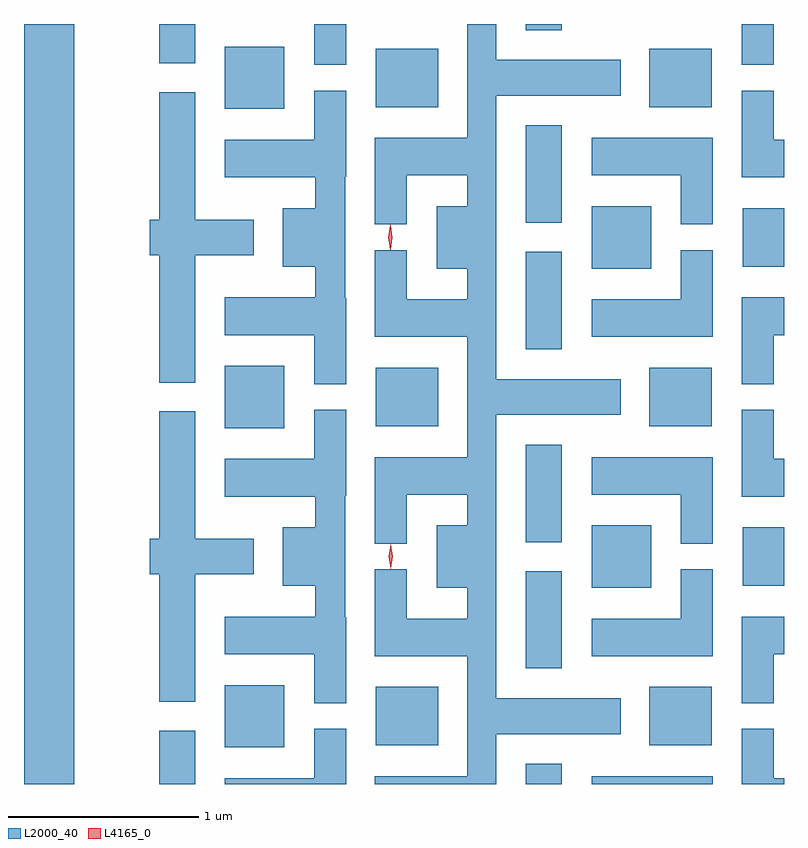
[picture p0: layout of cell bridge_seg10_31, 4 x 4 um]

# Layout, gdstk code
import gdstk
lib = gdstk.Library(unit=1e-6, precision=1e-09)
def R(c, l, rs):  # rectangles x0, y0, x1, y1
    for r in rs: c.add(gdstk.rectangle(r[:2], r[2:], *l))
def A(c, l, x, y, w, h, nx, ny, dx, dy):  # array of equal rectangles
    R(c, l, [(x+i*dx, y+j*dy, x+i*dx+w, y+j*dy+h) for i in range(nx) for j in range(ny)])
def P(c, l, *ps):  # polygons
    for p in ps: c.add(gdstk.Polygon(p, *l))
L2000_40 = (2000, 40)
L4165_0 = (4165, 0)

bridge_seg10_31 = lib.new_cell('bridge_seg10_31')
A(bridge_seg10_31, L2000_40, 1786.791, 2166.486, 0.313, 0.328, 1, 3, 0, 1.68)
A(bridge_seg10_31, L2000_40, 1787.586, 2166.496, 0.328, 0.308, 1, 3, 0, 1.68)
A(bridge_seg10_31, L2000_40, 1789.026, 2166.496, 0.328, 0.308, 1, 3, 0, 1.68)
R(bridge_seg10_31, L2000_40, [(1785.734,2166.293,1785.999,2170.293), (1786.446,2166.293,1786.634,2166.574), (1788.376,2166.293,1788.564,2166.399), (1788.721,2166.293,1789.359,2166.334), (1788.376,2166.901,1788.564,2167.414), (1788.721,2167.326,1789.034,2167.654), (1789.516,2167.336,1789.734,2167.644), (1788.376,2167.566,1788.564,2168.079), (1788.376,2168.581,1788.564,2169.094), (1788.721,2169.006,1789.034,2169.334), (1789.516,2169.016,1789.734,2169.324), (1788.376,2169.246,1788.564,2169.759), (1787.261,2170.078,1787.429,2170.293), (1789.511,2170.078,1789.679,2170.293), (1786.446,2170.086,1786.634,2170.293), (1788.376,2170.261,1788.564,2170.293)])
P(bridge_seg10_31, L2000_40, [(1788.066,2167.326),(1788.066,2167.164),(1787.749,2167.164),(1787.749,2167.423),(1787.581,2167.423),(1787.581,2166.966),(1788.066,2166.966),(1788.066,2166.334),(1787.581,2166.334),(1787.581,2166.293),(1788.219,2166.293),(1788.219,2166.556),(1788.874,2166.556),(1788.874,2166.744),(1788.219,2166.744),(1788.219,2168.236),(1788.874,2168.236),(1788.874,2168.424),(1788.219,2168.424),(1788.219,2169.916),(1788.874,2169.916),(1788.874,2170.104),(1788.219,2170.104),(1788.219,2170.293),(1788.066,2170.293),(1788.066,2169.694),(1787.581,2169.694),(1787.581,2169.238),(1787.749,2169.238),(1787.749,2169.496),(1788.066,2169.496),(1788.066,2169.334),(1787.906,2169.334),(1787.906,2169.006),(1788.066,2169.006),(1788.066,2168.844),(1787.749,2168.844),(1787.749,2169.103),(1787.581,2169.103),(1787.581,2168.646),(1788.066,2168.646),(1788.066,2168.014),(1787.581,2168.014),(1787.581,2167.558),(1787.749,2167.558),(1787.749,2167.816),(1788.066,2167.816),(1788.066,2167.654),(1787.906,2167.654),(1787.906,2167.326)],
  [(1789.734,2169.684),(1789.679,2169.684),(1789.679,2169.943),(1789.511,2169.943),(1789.511,2169.486),(1789.734,2169.486)],
  [(1787.429,2168.85),(1787.424,2168.85),(1787.424,2169.49),(1787.429,2169.49),(1787.429,2169.943),(1787.261,2169.943),(1787.261,2169.684),(1786.791,2169.684),(1786.791,2169.486),(1787.266,2169.486),(1787.266,2169.324),(1787.096,2169.324),(1787.096,2169.016),(1787.266,2169.016),(1787.266,2168.854),(1786.791,2168.854),(1786.791,2168.656),(1787.261,2168.656),(1787.261,2168.398),(1787.429,2168.398)],
  [(1786.634,2169.076),(1786.944,2169.076),(1786.944,2169.264),(1786.634,2169.264),(1786.634,2169.934),(1786.446,2169.934),(1786.446,2169.264),(1786.396,2169.264),(1786.396,2169.076),(1786.446,2169.076),(1786.446,2168.406),(1786.634,2168.406)],
  [(1789.359,2169.694),(1788.721,2169.694),(1788.721,2169.496),(1789.191,2169.496),(1789.191,2169.238),(1789.359,2169.238)],
  [(1789.359,2169.103),(1789.191,2169.103),(1789.191,2168.844),(1788.721,2168.844),(1788.721,2168.646),(1789.359,2168.646)],
  [(1789.679,2168.656),(1789.734,2168.656),(1789.734,2168.854),(1789.511,2168.854),(1789.511,2168.398),(1789.679,2168.398)],
  [(1787.429,2167.17),(1787.424,2167.17),(1787.424,2167.81),(1787.429,2167.81),(1787.429,2168.263),(1787.261,2168.263),(1787.261,2168.004),(1786.791,2168.004),(1786.791,2167.806),(1787.266,2167.806),(1787.266,2167.644),(1787.096,2167.644),(1787.096,2167.336),(1787.266,2167.336),(1787.266,2167.174),(1786.791,2167.174),(1786.791,2166.976),(1787.261,2166.976),(1787.261,2166.718),(1787.429,2166.718)],
  [(1789.734,2168.004),(1789.679,2168.004),(1789.679,2168.263),(1789.511,2168.263),(1789.511,2167.806),(1789.734,2167.806)],
  [(1786.634,2167.396),(1786.944,2167.396),(1786.944,2167.584),(1786.634,2167.584),(1786.634,2168.254),(1786.446,2168.254),(1786.446,2167.584),(1786.396,2167.584),(1786.396,2167.396),(1786.446,2167.396),(1786.446,2166.726),(1786.634,2166.726)],
  [(1789.359,2168.014),(1788.721,2168.014),(1788.721,2167.816),(1789.191,2167.816),(1789.191,2167.558),(1789.359,2167.558)],
  [(1789.359,2167.423),(1789.191,2167.423),(1789.191,2167.164),(1788.721,2167.164),(1788.721,2166.966),(1789.359,2166.966)],
  [(1789.679,2166.976),(1789.734,2166.976),(1789.734,2167.174),(1789.511,2167.174),(1789.511,2166.718),(1789.679,2166.718)],
  [(1789.734,2166.324),(1789.679,2166.324),(1789.679,2166.583),(1789.511,2166.583),(1789.511,2166.293),(1789.734,2166.293)],
  [(1787.429,2166.583),(1787.261,2166.583),(1787.261,2166.324),(1786.791,2166.324),(1786.791,2166.293),(1787.429,2166.293)])
P(bridge_seg10_31, L4165_0, [(1787.664,2167.424),(1787.663,2167.425),(1787.654,2167.49),(1787.663,2167.555),(1787.664,2167.556),(1787.664,2167.555),(1787.674,2167.49),(1787.664,2167.425)],
  [(1787.662,2169.104),(1787.662,2169.105),(1787.652,2169.17),(1787.662,2169.235),(1787.662,2169.236),(1787.663,2169.235),(1787.672,2169.17),(1787.663,2169.105)])

lib.write_gds('bridge_seg10_31.gds')
